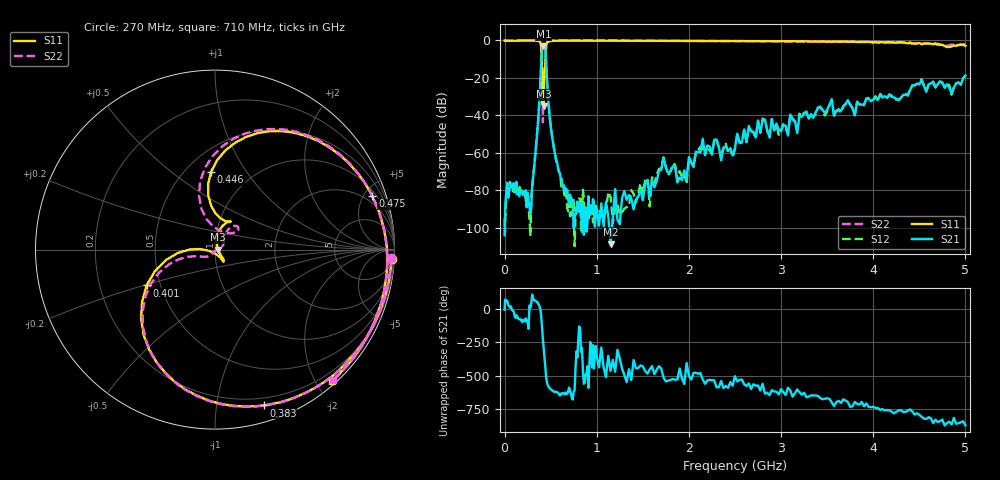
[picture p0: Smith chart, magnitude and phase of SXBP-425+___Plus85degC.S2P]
! Mini-Circuits
! S2P DATA File Format
! Type: BAND PASS FILTER
! Model: SXBP-425+
! All S Parameters are in dB deg format
! TEST CONDITIONS: INPUT POWER = 0 dBm @ Temperature = + 85 deg C
! 401 Frequency points
# MHz S DB R 50
!FREQMAG(S11)PHS(S11)MAG(S12)PHS(S12)MAG(S21)PHS(S21)MAG(S22)PHS(S22)
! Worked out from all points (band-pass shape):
!   401 points, 500 kHz to 5 GHz, reference 50 ohm
!   highest |S21| = -3.19 dB at 422 MHz (marker M1); lowest = -108.8 dB at 1.15 GHz (marker M2)
!   |S21| within 3 dB of the highest: 402.8 MHz to 444.7 MHz (41.9 MHz wide, 9.89 % of centre)
!   lowest |S11| = -35.3 dB at 425 MHz (marker M3), VSWR 1.04, Z = 51.8 + j0.0293 ohm
!   |S11| at or under -10 dB: 402.5 MHz to 444.2 MHz (41.72 MHz wide, 9.85 % of centre)
!   |S22| runs from -43.8 to -0.1 dB; largest |S21 - S12| = 0.013
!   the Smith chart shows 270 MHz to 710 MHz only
!   S11 on the Smith chart (normalised r, x): 270 MHz: 10, -36; 383 MHz: 0.13, -1.35; 401 MHz: 0.42, -0.21; 446 MHz: 0.66, +0.70; 475 MHz: 1.38, +5.74; 710 MHz: 0.06, -2.22
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0.5  -0.21 179.2  -104.03 -3.2  -94.88 -94.4  -0.20 179.2
80  -0.30 84.4  -78.36 -5.7  -77.14 -20.6  -0.31 85.2
270  -0.13 -3.0  -89.08 27.8  -95.14 -105.0  -0.15 -2.6
320  -0.17 -20.9  -68.64 67.5  -67.89 70.7  -0.16 -20.7
383  -0.82 -72.6  -27.79 13.6  -27.77 13.7  -0.81 -72.2
401  -7.33 -152.3  -7.61 -84.7  -7.57 -85.0  -6.55 -145.8
408  -33.89 -98.0  -4.05 -158.1  -4.04 -158.3  -20.56 -156.2
415  -21.77 -54.4  -3.36 140.7  -3.35 140.3  -38.00 -110.8
422  -26.18 -45.5  -3.19 86.7  -3.20 86.5  -25.71 28.8
425  -35.27 0.9  -3.22 64.2  -3.22 64.0  -23.45 43.6
435  -15.13 63.4  -3.71 -11.5  -3.71 -11.8  -14.89 45.3
446  -7.25 92.9  -7.14 -112.9  -7.17 -113.3  -8.25 102.4
475  -0.67 18.7  -32.60 138.6  -32.61 138.8  -0.70 20.6
610  -0.20 -31.6  -73.77 76.7  -75.24 85.0  -0.19 -30.8
710  -0.17 -48.4  -82.43 109.5  -93.92 44.5  -0.18 -47.6
840  -0.18 -66.4  -102.27 68.4  -93.85 1.2  -0.19 -65.6
1150  -0.24 -103.5  -108.81 -105.4  -83.50 -76.9  -0.24 -102.3
1675  -0.33 -159.9  -69.70 -69.5  -68.74 -75.5  -0.29 -158.1
2525  -0.44 113.2  -49.88 175.5  -50.02 167.3  -0.49 116.2
3350  -0.70 30.5  -41.41 69.7  -40.58 72.6  -0.68 32.1
4175  -1.00 -54.9  -29.04 -43.0  -28.92 -39.9  -1.31 -55.1
5000  -2.99 -139.5  -18.76 -155.4  -18.84 -153.0  -2.28 -136.0
